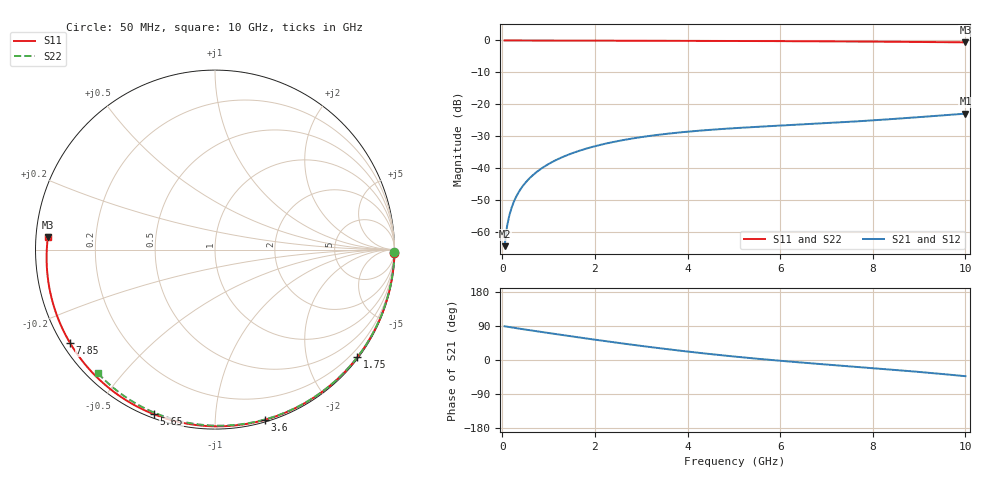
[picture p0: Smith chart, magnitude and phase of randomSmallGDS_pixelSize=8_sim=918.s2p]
! freq	dB(S11)	phase(S11)	dB(S12)	phase(S12)
!  dB(S21)	phase(S21)	dB(S22)	phase(S22)
!S-par simulation data
#  GHz  S  DB  R 50
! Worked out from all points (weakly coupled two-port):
!   200 points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, 50 MHz to 10 GHz, reference 50 ohm
!   highest |S21| = -22.94 dB at 10 GHz (marker M1); lowest = -64.5 dB at 50 MHz (marker M2)
!   lowest |S11| = -0.6 dB at 10 GHz (marker M3), VSWR 29.21, Z = 1.71 + j1.88 ohm
!   |S11| at or under -10 dB: nowhere
!   |S22| runs from -0.5 to 0.0 dB; largest |S21 - S12| = 0
!   S11 on the Smith chart (normalised r, x): 50 MHz: open; 1.75 GHz: 0.03, -2.98; 3.6 GHz: 0.02, -1.33; 5.65 GHz: 0.02, -0.69; 7.85 GHz: 0.02, -0.29; 10 GHz: 0.03, +0.04
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0.05  -0.00 -1.1  -64.46 89.0  -64.46 89.0  -0.00 -0.8
0.1  -0.00 -2.2  -58.44 88.0  -58.44 88.0  -0.00 -1.6
0.15  -0.00 -3.3  -54.93 86.9  -54.93 86.9  -0.00 -2.4
0.2  -0.00 -4.3  -52.44 86.0  -52.44 86.0  -0.00 -3.2
0.25  -0.00 -5.4  -50.52 85.0  -50.52 85.0  -0.00 -3.9
0.35  -0.01 -7.6  -47.63 83.1  -47.63 83.1  -0.00 -5.5
0.5  -0.01 -10.8  -44.57 80.3  -44.57 80.3  -0.01 -7.9
0.7  -0.02 -15.1  -41.71 76.6  -41.71 76.6  -0.01 -11.0
1  -0.03 -21.5  -38.71 71.2  -38.71 71.2  -0.02 -15.6
1.35  -0.04 -28.8  -36.23 65.0  -36.23 65.0  -0.03 -21.0
1.75  -0.05 -37.1  -34.16 57.9  -34.16 57.9  -0.04 -27.1
2.6  -0.07 -54.3  -31.24 43.6  -31.24 43.6  -0.05 -39.8
3.4  -0.10 -69.9  -29.51 31.0  -29.51 31.0  -0.07 -51.4
3.6  -0.10 -73.7  -29.17 28.0  -29.17 28.0  -0.08 -54.3
4.3  -0.13 -86.6  -28.22 18.2  -28.22 18.2  -0.10 -64.1
5.05  -0.16 -100.0  -27.45 8.7  -27.45 8.7  -0.12 -74.2
5.65  -0.19 -110.4  -26.95 1.7  -26.95 1.7  -0.14 -82.0
6.7  -0.25 -128.1  -26.15 -9.1  -26.15 -9.1  -0.19 -95.2
7.85  -0.35 -147.2  -25.18 -20.0  -25.18 -20.0  -0.26 -109.1
8.35  -0.40 -155.5  -24.70 -24.8  -24.70 -24.8  -0.30 -114.9
9.2  -0.49 -170.0  -23.81 -33.6  -23.81 -33.6  -0.38 -124.6
10  -0.59 175.7  -22.94 -42.7  -22.94 -42.7  -0.46 -133.7
